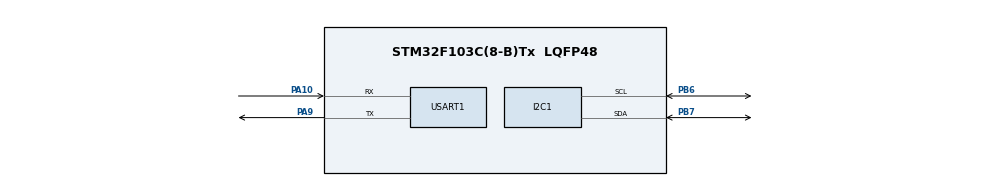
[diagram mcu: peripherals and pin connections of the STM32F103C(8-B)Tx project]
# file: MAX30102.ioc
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FREERTOS.Tasks01=countTaskA,24,256,StartCountTaskA,Default,NULL,Dynamic,NULL,NULL;countTaskB,24,256,StartCountTaskB,Default,NULL,Dynamic,NULL,NULL
FREERTOS.configTOTAL_HEAP_SIZE=8192
Mcu.Family=STM32F1
Mcu.Name=STM32F103C(8-B)Tx
Mcu.Package=LQFP48
NVIC.PriorityGroup=NVIC_PRIORITYGROUP_4
NVIC.TIM4_IRQn=true\:15\:0\:false\:false\:true\:false\:false\:true\:true
NVIC.TimeBase=TIM4_IRQn
NVIC.TimeBaseIP=TIM4
PA10.Mode=Asynchronous
PA10.Signal=USART1_RX
PA13.Mode=Serial_Wire
PA13.Signal=SYS_JTMS-SWDIO
PA14.Mode=Serial_Wire
PA14.Signal=SYS_JTCK-SWCLK
PA9.Mode=Asynchronous
PA9.Signal=USART1_TX
PB6.Mode=I2C
PB6.Signal=I2C1_SCL
PB7.Mode=I2C
PB7.Signal=I2C1_SDA
ProjectManager.HeapSize=0x200
ProjectManager.StackSize=0x400
ProjectManager.TargetToolchain=MDK-ARM V5.32
RCC.APB1Freq_Value=8000000
RCC.APB2Freq_Value=8000000
USART1.VirtualMode=VM_ASYNC
VP_FREERTOS_VS_CMSIS_V2.Mode=CMSIS_V2
VP_SYS_VS_tim4.Mode=TIM4
board=custom

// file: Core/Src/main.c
/* USER CODE BEGIN Header */
/**
  ******************************************************************************
  * @file           : main.c
  * @brief          : Main program body
  ******************************************************************************
  * @attention
  *
  * Copyright (c) 2026 STMicroelectronics.
  * All rights reserved.
  *
  * This software is licensed under terms that can be found in the LICENSE file
  * in the root directory of this software component.
  * If no LICENSE file comes with this software, it is provided AS-IS.
  *
  ******************************************************************************
  */
/* USER CODE END Header */
#include "main.h"
#include "cmsis_os.h"

/* USER CODE BEGIN Includes */
#include "main.h"
#include "max30102.h"
#include "ppg_filter.h"
#include "heart_rate.h"
#include "spo2.h"
#include "sample_monitor.h"
#include "vofa_uart.h"

/* USER CODE END Includes */

/* USER CODE BEGIN PTD */
typedef struct {
  uint32_t red_raw;
  uint32_t ir_raw;
  int32_t red_filtered;
  int32_t ir_filtered;

  uint8_t beat_detected;
  uint32_t avg_bpm;
  uint8_t heart_rate_valid;

  float spo2_est;
  uint8_t spo2_valid;

  uint8_t sample_active;
}MeasurementFrame_t;

typedef enum
{
  RTOS_START_NO_ERROR = 0,
  RTOS_START_QUEUE_FAILED = 1,
  RTOS_START_TASK_A_FAILED = 2,
  RTOS_START_TASK_B_FAILED = 3,
  RTOS_START_KERNEL_INIT_FAILED = 4,
  RTOS_START_SCHEDULER_RETURNED = 5
}RTOSStartError_t;
/* USER CODE END PTD */

I2C_HandleTypeDef hi2c1;

UART_HandleTypeDef huart1;

/* Definitions for countTaskA */
osThreadId_t countTaskAHandle;
const osThreadAttr_t countTaskA_attributes = {
  .name = "countTaskA",
  .stack_size = 256 * 4,
  .priority = (osPriority_t) osPriorityNormal,
};
/* Definitions for countTaskB */
osThreadId_t countTaskBHandle;
const osThreadAttr_t countTaskB_attributes = {
  .name = "countTaskB",
  .stack_size = 256 * 4,
  .priority = (osPriority_t) osPriorityNormal,
};

/* USER CODE BEGIN PV */
uint8_t part_id = 0;
HAL_StatusTypeDef id_status = HAL_ERROR;
uint8_t mode_reg = 0;
HAL_StatusTypeDef mode_status = HAL_ERROR;
HAL_StatusTypeDef config_status = HAL_ERROR;

uint32_t red_raw = 0;
uint32_t ir_raw = 0;

uint32_t sample_count = 0;

HAL_StatusTypeDef fifo_status = HAL_ERROR;

volatile uint8_t test_pause_sample = 0;
volatile uint32_t Task_A_count = 0;
volatile uint32_t Task_B_count = 0;
volatile uint32_t stacksapce_A = 0;
volatile uint32_t stacksapce_B = 0;

osMessageQueueId_t measurementQueueHandle = NULL;

volatile osStatus_t Ret_status= osOK;
volatile uint32_t os_count = 0;

volatile uint32_t queue_full_count = 0;

volatile uint8_t test_pause_receive = 0;
volatile uint8_t beat_queue_pending_watch = 0;

volatile RTOSStartError_t rtos_start_error = RTOS_START_NO_ERROR;

/* USER CODE END PV */

void SystemClock_Config(void);
static void MX_GPIO_Init(void);
static void MX_I2C1_Init(void);
static void MX_USART1_UART_Init(void);
void StartCountTaskA(void *argument);
void StartCountTaskB(void *argument);

/* USER CODE BEGIN PFP */

void Result_invalid(uint8_t sample_active);

/* USER CODE END PFP */

/* USER CODE BEGIN 0 */

  //两个任务单独计数

void Result_invalid(uint8_t sample_active)
{
  if(sample_active == 0)
  {
    heart_rate_valid = 0;//心率结果失效
    spo2_valid = 0;//血氧结果失效

    avg_bpm = 0;
     spo2_est = 0.0f;

    beat_detected = 0;
    HeartBeat_reset_status();//重置心跳采样状态
    PPG_ResetFilter();
    SPO2_ResetWindow();
  }
}

void Task_A()
{

  Task_A_count++;
}
void Task_B()
{

  Task_B_count++;
}

/* USER CODE END 0 */

int main(void)
{

  /* MCU Configuration--------------------------------------------------------*/

  /* Reset of all peripherals, Initializes the Flash interface and the Systick. */
  HAL_Init();

  /* Configure the system clock */
  SystemClock_Config();

  /* Initialize all configured peripherals */
  MX_GPIO_Init();
  MX_I2C1_Init();
  MX_USART1_UART_Init();
  /* USER CODE BEGIN 2 */

   /* MAX30102_Init()
   * 每次把返回值交给 config_status；最后在 Watch 查看它是否为 HAL_OK。
    */
  config_status = MAX30102_Init();
  if(config_status != HAL_OK)
  {
    Error_Handler();
  }
  //ID 读取只需做一次：PART_ID 是固定值，不必每轮循环都访问 I2C。
  id_status = HAL_I2C_Mem_Read(&hi2c1,MAX30102_ADDR_7BIT<<1,MAX30102_PART_ID_REG,I2C_MEMADD_SIZE_8BIT,&part_id,1,100);

  /* 模式配置也只回读一次：确认上面最后一笔写入让 MODE_CONFIG 变成 0x03。
   * mode_status 是 I2C 传输结果；mode_reg 是芯片返回的寄存器内容。 */
  mode_status = MAX30102_ReadBytes(MAX30102_REG_MODE_CONFIG, &mode_reg, 1U);

  /* USER CODE END 2 */

  /* Init scheduler */
  osKernelInitialize();

  /* USER CODE BEGIN RTOS_MUTEX */
  if(osKernelGetState() != osKernelReady)
  {
    rtos_start_error = RTOS_START_KERNEL_INIT_FAILED;
    Error_Handler();
  }
  /* add mutexes, ... */
  /* USER CODE END RTOS_MUTEX */

  /* USER CODE BEGIN RTOS_QUEUES */
  measurementQueueHandle = osMessageQueueNew(4,sizeof(MeasurementFrame_t),NULL);
  if(measurementQueueHandle == NULL)
  {
    rtos_start_error = RTOS_START_QUEUE_FAILED;
    Error_Handler();
  }

  /* add queues, ... */
  /* USER CODE END RTOS_QUEUES */

  /* Create the thread(s) */
  /* creation of countTaskA */
  countTaskAHandle = osThreadNew(StartCountTaskA, NULL, &countTaskA_attributes);

  /* creation of countTaskB */
  countTaskBHandle = osThreadNew(StartCountTaskB, NULL, &countTaskB_attributes);

  /* USER CODE BEGIN RTOS_THREADS */
  if(countTaskAHandle == NULL)
  {
    rtos_start_error = RTOS_START_TASK_A_FAILED;
    Error_Handler();
  }
  if(countTaskBHandle == NULL)
  {
    rtos_start_error = RTOS_START_TASK_B_FAILED;
    Error_Handler();
  }
  /* add threads, ... */
  /* USER CODE END RTOS_THREADS */

  /* Start scheduler */
  osKernelStart();

  /* We should never get here as control is now taken by the scheduler */

  /* Infinite loop */
  while (1)
  {

    /* USER CODE BEGIN 3 */
   rtos_start_error = RTOS_START_SCHEDULER_RETURNED;
   Error_Handler();
  }
  /* USER CODE END 3 */
}

void SystemClock_Config(void)
{
  RCC_OscInitTypeDef RCC_OscInitStruct = {0};
  RCC_ClkInitTypeDef RCC_ClkInitStruct = {0};

  /** Initializes the RCC Oscillators according to the specified parameters
  * in the RCC_OscInitTypeDef structure.
  */
  RCC_OscInitStruct.OscillatorType = RCC_OSCILLATORTYPE_HSI;
  RCC_OscInitStruct.HSIState = RCC_HSI_ON;
  RCC_OscInitStruct.HSICalibrationValue = RCC_HSICALIBRATION_DEFAULT;
  RCC_OscInitStruct.PLL.PLLState = RCC_PLL_NONE;
  if (HAL_RCC_OscConfig(&RCC_OscInitStruct) != HAL_OK)
  {
    Error_Handler();
  }

  /** Initializes the CPU, AHB and APB buses clocks
  */
  RCC_ClkInitStruct.ClockType = RCC_CLOCKTYPE_HCLK|RCC_CLOCKTYPE_SYSCLK
                              |RCC_CLOCKTYPE_PCLK1|RCC_CLOCKTYPE_PCLK2;
  RCC_ClkInitStruct.SYSCLKSource = RCC_SYSCLKSOURCE_HSI;
  RCC_ClkInitStruct.AHBCLKDivider = RCC_SYSCLK_DIV1;
  RCC_ClkInitStruct.APB1CLKDivider = RCC_HCLK_DIV1;
  RCC_ClkInitStruct.APB2CLKDivider = RCC_HCLK_DIV1;

  if (HAL_RCC_ClockConfig(&RCC_ClkInitStruct, FLASH_LATENCY_0) != HAL_OK)
  {
    Error_Handler();
  }
}

static void MX_I2C1_Init(void)
{

  hi2c1.Instance = I2C1;
  hi2c1.Init.ClockSpeed = 100000;
  hi2c1.Init.DutyCycle = I2C_DUTYCYCLE_2;
  hi2c1.Init.OwnAddress1 = 0;
  hi2c1.Init.AddressingMode = I2C_ADDRESSINGMODE_7BIT;
  hi2c1.Init.DualAddressMode = I2C_DUALADDRESS_DISABLE;
  hi2c1.Init.OwnAddress2 = 0;
  hi2c1.Init.GeneralCallMode = I2C_GENERALCALL_DISABLE;
  hi2c1.Init.NoStretchMode = I2C_NOSTRETCH_DISABLE;
  if (HAL_I2C_Init(&hi2c1) != HAL_OK)
  {
    Error_Handler();
  }

}

static void MX_USART1_UART_Init(void)
{

  huart1.Instance = USART1;
  huart1.Init.BaudRate = 115200;
  huart1.Init.WordLength = UART_WORDLENGTH_8B;
  huart1.Init.StopBits = UART_STOPBITS_1;
  huart1.Init.Parity = UART_PARITY_NONE;
  huart1.Init.Mode = UART_MODE_TX_RX;
  huart1.Init.HwFlowCtl = UART_HWCONTROL_NONE;
  huart1.Init.OverSampling = UART_OVERSAMPLING_16;
  if (HAL_UART_Init(&huart1) != HAL_OK)
  {
    Error_Handler();
  }

}

static void MX_GPIO_Init(void)
{

  /* GPIO Ports Clock Enable */
  __HAL_RCC_GPIOA_CLK_ENABLE();
  __HAL_RCC_GPIOB_CLK_ENABLE();

}

void StartCountTaskA(void *argument)
{
  /* USER CODE BEGIN 5 */
  MeasurementFrame_t frame = {0};
  uint8_t beat_queue_pending = 0;
  uint32_t last_queue_sample_count = 0;
  uint8_t last_queued_sample_active = 0;
  uint32_t last_queue_ms = HAL_GetTick();
  /* Infinite loop */
  for(;;)
  {
    Task_A();
    beat_detected = 0U;
    /* 两次指针读取都成功，且 wr_ptr != rd_ptr，才有未读样本。
     * 用一个 if 包住下面的 M2-B-2 和 M2-B-3；没数据时不要读 FIFO。 */
    uint8_t ready = 0;
    HAL_StatusTypeDef read_status = HAL_ERROR;
    uint32_t now_ms = HAL_GetTick();
    read_status = MAX30102_DataReady(&ready);
    if(read_status == HAL_OK && ready == 1)
    {
        fifo_status = MAX30102_ReadSample(&red_raw, &ir_raw);
        if(fifo_status == HAL_OK && test_pause_sample == 0)
        {
          sample_count++;
          /* 先分离直流/交流，再把同一时刻的原始值和滤波值一起发送。 */
          PPG_RemoveDC(red_raw, ir_raw);
          PPG_LowPass(red_ac,ir_ac);
          peak_to_peak_value_statistics(ir_filtered,red_filtered,ir_dc,red_dc);
          /* 每取得一组新的滤波样本就检测一次；HAL_GetTick() 返回开机后的毫秒数。 */
          Heartbeat_DetectValley(ir_filtered, HAL_GetTick());
        }

    }

    sampling_rate_check(sample_count);//判断采样速率
    No_new_sample_No_old_sample(sample_count);//sample_active 是否有新样本
    Result_invalid(sample_active);//beat_detected = 0;
    //尚未收到样本或采样超时时，清除结果并重置算法历史
    if(sample_active == 0)beat_queue_pending = 0;
    else if(beat_detected == 1)beat_queue_pending = 1;
      frame.red_raw = red_raw;
      frame.ir_raw = ir_raw;
      frame.red_filtered = red_filtered;
      frame.ir_filtered = ir_filtered;
      frame.beat_detected = beat_queue_pending;
      frame.avg_bpm = avg_bpm;
      frame.heart_rate_valid = heart_rate_valid;
      frame.spo2_est = spo2_est;
      frame.spo2_valid = spo2_valid;
      frame.sample_active = sample_active;
      if(now_ms - last_queue_ms >= 100U || sample_count != last_queue_sample_count
          || sample_active != last_queued_sample_active || beat_queue_pending == 1)
          {
            Ret_status = osMessageQueuePut(measurementQueueHandle,&frame,0,0);
            if(Ret_status == osOK)
            {
              os_count++;
              beat_queue_pending = 0;
              last_queue_sample_count = sample_count;
              last_queued_sample_active = sample_active;
              last_queue_ms = now_ms;

            }
            if(Ret_status == osErrorResource)queue_full_count++;
          }

    beat_queue_pending_watch = beat_queue_pending;
    osDelay(1);
  }
  /* USER CODE END 5 */
}

void StartCountTaskB(void *argument)
{
  /* USER CODE BEGIN StartCountTaskB */
  MeasurementFrame_t receive_frame = {0};
  osStatus_t get_status = osOK;

  /* Infinite loop */
  for(;;)
  {
    if(test_pause_receive != 0)
    {
      osDelay(10);
      continue;
    }
    get_status = osMessageQueueGet(measurementQueueHandle,&receive_frame,NULL,osWaitForever);
    if(get_status == osOK)
    {
      Task_B();
      stacksapce_A = osThreadGetStackSpace(countTaskAHandle);
      stacksapce_B = osThreadGetStackSpace(countTaskBHandle);
      if(receive_frame.sample_active == 0)heart_pending = 0;
      UART_SendData(receive_frame.red_raw, receive_frame.ir_raw, receive_frame.red_filtered, receive_frame.ir_filtered, receive_frame.beat_detected, receive_frame.avg_bpm, receive_frame.heart_rate_valid, receive_frame.spo2_est,receive_frame.spo2_valid);
    }

  }
  /* USER CODE END StartCountTaskB */
}

void HAL_TIM_PeriodElapsedCallback(TIM_HandleTypeDef *htim)
{
  if (htim->Instance == TIM4)
  {
    HAL_IncTick();
  }
}

void Error_Handler(void)
{
  __disable_irq();
  while (1)
  {
  }
}
